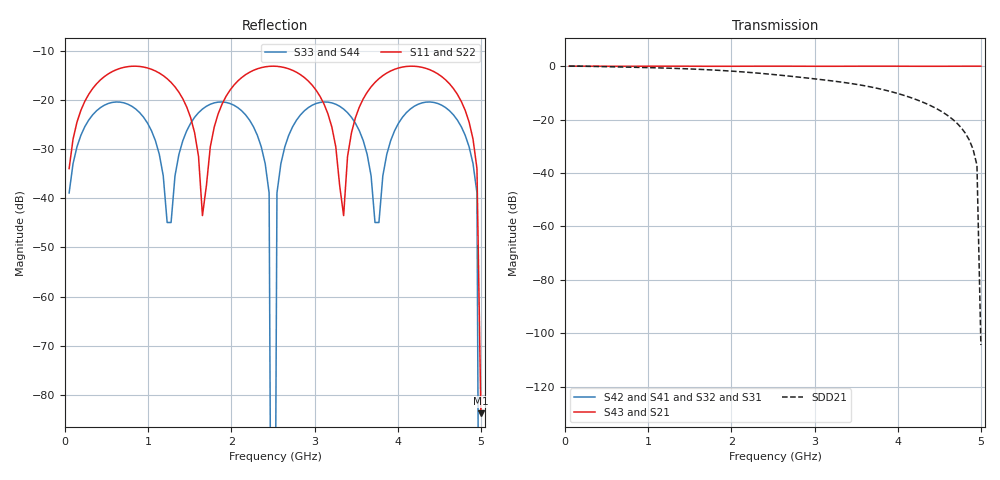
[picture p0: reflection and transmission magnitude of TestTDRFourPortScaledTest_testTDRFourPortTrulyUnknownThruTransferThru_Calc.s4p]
! File created by SignalIntegrity v1.1.3: Signal and Power Integrity Tools
! https://github.com/TeledyneLeCroy/SignalIntegrity
# MHz MA S R 50.0
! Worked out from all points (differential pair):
!   106 points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, 47.17 MHz to 5 GHz, reference 50 ohm
!   strongest paths, dB at 47.17 MHz, 1.274 GHz, 2.547 GHz, 3.774 GHz, 5 GHz:
!     S43: 0.0, 0.0, 0.0, 0.0, 0.0
!     S21: 0.0, -0.1, -0.2, -0.1, 0.0
!     S42: -, -, -, -, -
!     S41: -, -, -, -, -
!     S32: -, -, -, -, -
!     S31: -, -, -, -, -
!   taken as a pair (ports 3,1 in; 4,2 out), SDD21 dB: 0.0, -0.8, -3.3, -8.4, -104.4
!   lowest |S11| = -83.7 dB at 5 GHz (marker M1), VSWR 1.00, Z = 50 - j7.96e-19 ohm
!   |S11| at or under -10 dB: start of sweep to end of sweep
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47.16981  0.01998 -95.4  0.9999 -5.2  0 0.0  0 0.0
          0.9998 -5.2  0.01998 -95.2  0 0.0  0 0.0
          0 0.0  0 0.0  0.01129 83.2  0.9999 -6.8
          0 0.0  0 0.0  0.9999 -6.8  0.01129 83.2
2122.642  0.1681 -139.9  0.9858 130.1  0 0.0  0 0.0
          0.9858 130.1  0.168 -139.9  0 0.0  0 0.0
          0 0.0  0 0.0  0.07732 -35.5  0.997 54.5
          0 0.0  0 0.0  0.997 54.5  0.07732 -35.5
2500  0.2195 -180.0  0.9756 90.0  0 0.0  0 0.0
      0.9756 90.0  0.2195 180.0  0 0.0  0 0.0
      0 0.0  0 0.0  0 180.0  1 0.0
      0 0.0  0 0.0  1 -0.0  0 180.0
2735.849  0.1991 155.1  0.98 65.1  0 0.0  0 0.0
          0.98 65.1  0.199 155.1  0 0.0  0 0.0
          0 0.0  0 0.0  0.05325 55.9  0.9986 -34.1
          0 0.0  0 0.0  0.9986 -34.1  0.05325 55.9
4433.962  0.1934 151.7  0.9811 -118.3  0 0.0  0 0.0
          0.9811 -118.3  0.1933 151.7  0 0.0  0 0.0
          0 0.0  0 0.0  0.09399 -8.5  0.9956 81.5
          0 0.0  0 0.0  0.9956 81.5  0.09399 -8.5
4905.66  0.03977 100.5  0.9992 -169.6  0 0.0  0 0.0
         0.9992 -169.6  0.03977 100.4  0 0.0  0 0.0
         0 0.0  0 0.0  0.02242 -76.4  0.9997 13.6
         0 0.0  0 0.0  0.9997 13.6  0.02242 -76.4
5000  6.5e-05 -180.0  1 -180.0  0 0.0  0 0.0
      1 -180.0  3e-06 -180.0  0 0.0  0 0.0
      0 0.0  0 0.0  0 180.0  1 0.0
      0 0.0  0 0.0  1 0.0  0 0.0
